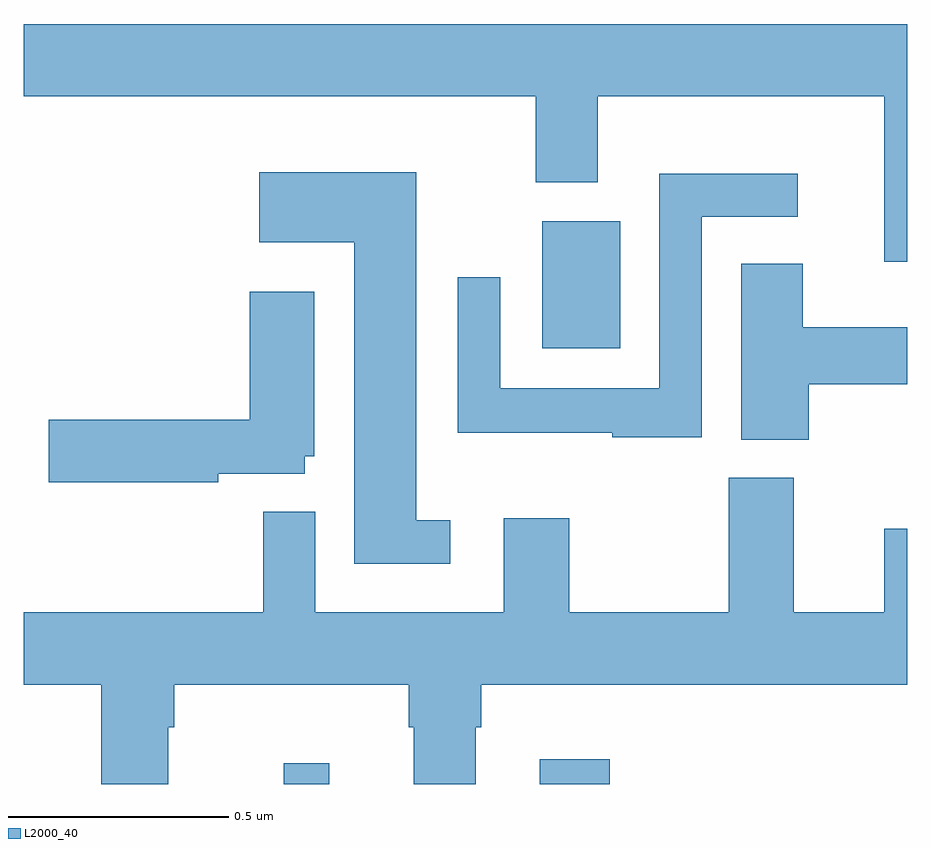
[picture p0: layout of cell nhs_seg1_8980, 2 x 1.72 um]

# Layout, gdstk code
import gdstk
lib = gdstk.Library(unit=1e-6, precision=1e-09)
def R(c, l, rs):  # rectangles x0, y0, x1, y1
    for r in rs: c.add(gdstk.rectangle(r[:2], r[2:], *l))
def P(c, l, *ps):  # polygons
    for p in ps: c.add(gdstk.Polygon(p, *l))
L2000_40 = (2000, 40)

nhs_seg1_8980 = lib.new_cell('nhs_seg1_8980')
R(nhs_seg1_8980, L2000_40, [(223.588,526.199,223.691,526.246), (224.168,526.199,224.327,526.255), (224.174,527.186,224.35,527.473)])
P(nhs_seg1_8980, L2000_40, [(225,527.92),(223,527.92),(223,527.756),(224.159,527.756),(224.159,527.562),(224.299,527.562),(224.299,527.756),(224.948,527.756),(224.948,527.382),(225,527.382)],
  [(223.966,526.796),(223.888,526.796),(223.888,527.584),(223.533,527.584),(223.533,527.426),(223.748,527.426),(223.748,526.698),(223.966,526.698)],
  [(224.535,527.484),(224.752,527.484),(224.752,527.581),(224.439,527.581),(224.439,527.095),(224.079,527.095),(224.079,527.347),(223.983,527.347),(223.983,526.994),(224.332,526.994),(224.332,526.984),(224.535,526.984)],
  [(224.777,527.104),(225,527.104),(225,527.233),(224.764,527.233),(224.764,527.377),(224.624,527.377),(224.624,526.978),(224.777,526.978)],
  [(223.44,526.901),(223.636,526.901),(223.636,526.941),(223.657,526.941),(223.657,527.314),(223.511,527.314),(223.511,527.024),(223.056,527.024),(223.056,526.882),(223.44,526.882)],
  [(223.327,526.328),(223.34,526.328),(223.34,526.424),(223.871,526.424),(223.871,526.328),(223.883,526.328),(223.883,526.199),(224.023,526.199),(224.023,526.328),(224.036,526.328),(224.036,526.424),(225,526.424),(225,526.777),(224.948,526.777),(224.948,526.588),(224.743,526.588),(224.743,526.893),(224.596,526.893),(224.596,526.588),(224.235,526.588),(224.235,526.801),(224.087,526.801),(224.087,526.588),(223.66,526.588),(223.66,526.816),(223.542,526.816),(223.542,526.588),(223,526.588),(223,526.424),(223.175,526.424),(223.175,526.199),(223.327,526.199)])

lib.write_gds('nhs_seg1_8980.gds')
